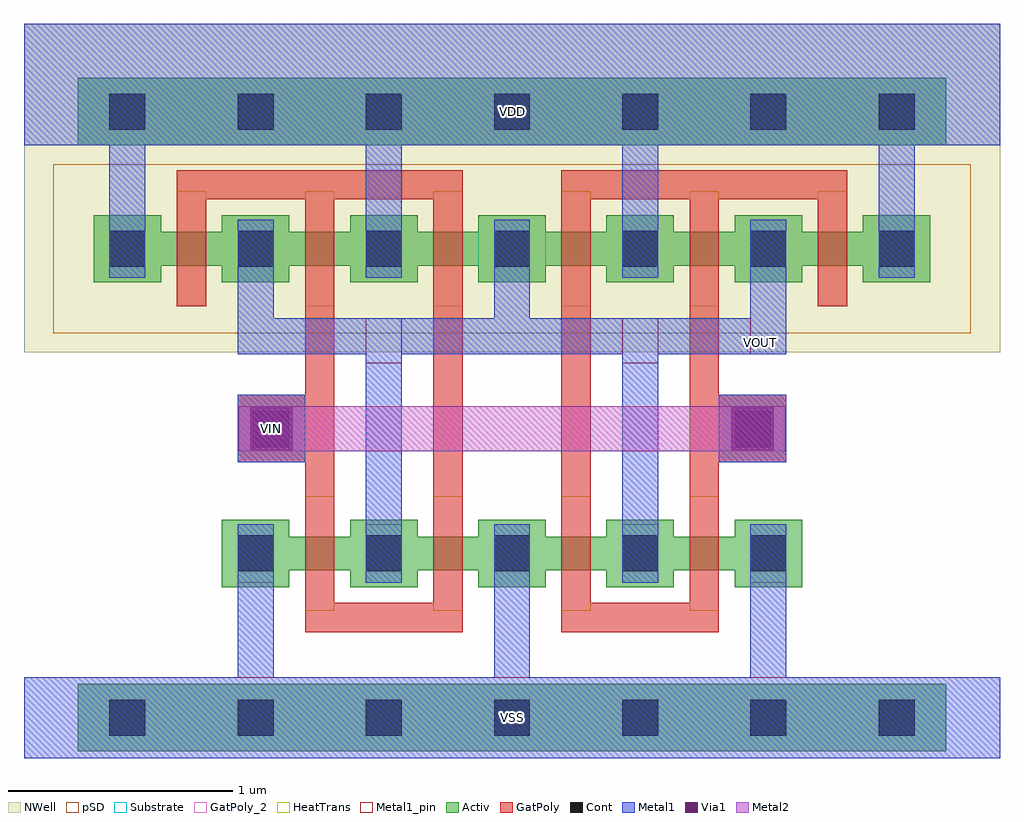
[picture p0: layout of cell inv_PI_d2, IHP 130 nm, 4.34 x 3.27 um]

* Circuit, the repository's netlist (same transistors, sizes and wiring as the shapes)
* Extracted by KLayout with SG13G2 LVS runset on : 27/02/2026 19:48

.SUBCKT inv_PI_d2 VSS VOUT VDD VIN
M$1 VSS VIN VOUT VSS sg13_lv_nmos L=0.13u W=0.6u AS=0.267p AD=0.267p PS=3.56u
+ PD=3.56u
M$5 VDD VIN VOUT VDD sg13_lv_pmos L=0.13u W=0.9u AS=0.378p AD=0.378p PS=5.04u
+ PD=5.04u
.ENDS inv_PI_d2

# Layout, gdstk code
from math import pi, radians
import gdstk
lib = gdstk.Library(unit=1e-6, precision=5e-09)
def R(c, l, rs):  # rectangles x0, y0, x1, y1
    for r in rs: c.add(gdstk.rectangle(r[:2], r[2:], *l))
def A(c, l, x, y, w, h, nx, ny, dx, dy):  # array of equal rectangles
    R(c, l, [(x+i*dx, y+j*dy, x+i*dx+w, y+j*dy+h) for i in range(nx) for j in range(ny)])
Activ = (1, 0)
GatPoly = (5, 0)
GatPoly_2 = (5, 2)
Cont = (6, 0)
Metal1 = (8, 0)
Metal1_pin = (8, 2)
Metal2 = (10, 0)
pSD = (14, 0)
Via1 = (19, 0)
NWell = (31, 0)
Substrate = (40, 0)
HeatTrans = (51, 0)

pmos_1 = lib.new_cell('pmos$1')
A(pmos_1, Activ, 0, 0, 0.3, 0.3, 4, 1, 0.57, 0)
R(pmos_1, Activ, [(0,0.075,2.01,0.225)])
A(pmos_1, GatPoly, 0.37, -0.105, 0.13, 0.51, 3, 1, 0.57, 0)
R(pmos_1, GatPoly, [(0.37,-0.105,0.5,0.405)])
A(pmos_1, Cont, 0.07, 0.07, 0.16, 0.16, 4, 1, 0.57, 0)
A(pmos_1, Metal1, 0.64, 0.02, 0.16, 0.26, 3, 1, 0.57, 0)
R(pmos_1, Metal1, [(0.07,0.02,0.23,0.28), (0.07,0.02,0.23,0.28), (0.64,0.02,0.8,0.28)])
R(pmos_1, pSD, [(-0.18,-0.225,2.19,0.525)])
R(pmos_1, NWell, [(-0.31,-0.31,2.32,0.61)])
R(pmos_1, Substrate, [(1.71,0,2.01,0.3)])
A(pmos_1, HeatTrans, 0.37, -0.105, 0.13, 0.51, 3, 1, 0.57, 0)
pmos_1.add(gdstk.Label('pmos', (0.435,0.15), layer=63, texttype=0))
pmos_1.add(gdstk.Label('pmos', (0.435,0.15), layer=51, texttype=0))
pmos_1.add(gdstk.Label('pmos', (1.005,0.15), layer=51, texttype=0))
pmos_1.add(gdstk.Label('pmos', (1.575,0.15), layer=51, texttype=0))

nmos = lib.new_cell('nmos')
A(nmos, Activ, 0, 0, 0.3, 0.3, 3, 1, 0.57, 0)
R(nmos, Activ, [(0,0.075,1.44,0.225)])
R(nmos, GatPoly, [(0.37,-0.105,0.5,0.405), (0.94,-0.105,1.07,0.405)])
R(nmos, GatPoly_2, [(0.37,-0.105,0.5,0.405)])
A(nmos, Cont, 0.07, 0.07, 0.16, 0.16, 3, 1, 0.57, 0)
A(nmos, Metal1, 0.07, 0.02, 0.16, 0.26, 3, 1, 0.57, 0)
R(nmos, Metal1_pin, [(0.07,0.02,0.23,0.28), (0.64,0.02,0.8,0.28)])
R(nmos, HeatTrans, [(0.37,-0.105,0.5,0.405), (0.94,-0.105,1.07,0.405)])
nmos.add(gdstk.Label('nmos', (0.435,0.15), layer=63, texttype=0))
nmos.add(gdstk.Label('nmos', (0.435,0.15), layer=51, texttype=0))
nmos.add(gdstk.Label('nmos', (1.005,0.15), layer=51, texttype=0))

inv_pi = lib.new_cell('inv_PI')
R(inv_pi, Activ, [(2,1.95,4.15,2.25), (2,4.645,4.15,4.945)])
R(inv_pi, GatPoly, [(3.01,2.48,3.71,2.61), (3.01,2.655,3.14,4.535), (3.58,2.655,3.71,4.535), (2.71,3.235,3.01,3.535), (2.44,3.93,2.57,4.535), (2.44,4.405,3.71,4.535)])
A(inv_pi, Cont, 2.14, 2.02, 0.16, 0.16, 4, 2, 0.57, 2.695)
R(inv_pi, Cont, [(2.78,3.305,2.94,3.465)])
R(inv_pi, Metal1, [(1.76,1.92,4.39,2.28), (2.71,1.95,2.87,2.96), (3.85,1.95,4.01,2.96), (3.28,2.7,3.44,3.875), (2.71,3.235,3.01,3.535), (2.71,3.715,2.87,4.315), (2.71,3.715,4.01,3.875), (3.85,3.715,4.01,4.315), (2.14,4.105,2.3,4.945), (3.28,4.105,3.44,4.945), (1.76,4.645,4.39,5.185)])
R(inv_pi, Metal1_pin, [(1.76,1.92,4.39,2.28), (2.71,3.235,3.01,3.535), (3.28,3.675,3.44,3.875), (1.76,4.645,4.39,5.185)])
R(inv_pi, pSD, [(1.76,1.92,4.39,2.28)])
R(inv_pi, NWell, [(1.76,4.645,4.39,5.185)])
inv_pi.add(gdstk.Reference(pmos_1, (2.07,4.035)))
inv_pi.add(gdstk.Reference(nmos, (2.64,2.68)))
inv_pi.add(gdstk.Label('VSS', (3.025,2.065), layer=8, texttype=25))
inv_pi.add(gdstk.Label('VIN', (2.8,3.32), layer=8, texttype=25))
inv_pi.add(gdstk.Label('VDD', (3.075,4.795), layer=8, texttype=25))
inv_pi.add(gdstk.Label('VOUT', (3.28,3.75), layer=8, texttype=25))

via_stack_1 = lib.new_cell('via_stack$1')
R(via_stack_1, Metal1, [(-0.145,-0.105,0.145,0.105)])
R(via_stack_1, Metal2, [(-0.145,-0.1,0.145,0.1)])
R(via_stack_1, Via1, [(-0.095,-0.095,0.095,0.095)])

inv_pi_d2 = lib.new_cell('inv_PI_d2')
R(inv_pi_d2, Metal1, [(4.01,3.715,4.42,3.875)])
R(inv_pi_d2, Metal1_pin, [(4.99,3.715,5.15,3.875), (4.99,3.715,5.15,4.315), (1.76,4.645,6.1,5.185)])
R(inv_pi_d2, Metal2, [(2.715,3.285,5.145,3.485)])
inv_pi_d2.add(gdstk.Reference(inv_pi, (0,0)))
inv_pi_d2.add(gdstk.Reference(inv_pi, (7.86,0), rotation=pi, x_reflection=True))
inv_pi_d2.add(gdstk.Reference(via_stack_1, (2.86,3.385)))
inv_pi_d2.add(gdstk.Reference(via_stack_1, (5,3.385)))
inv_pi_d2.add(gdstk.Label('VDD', (3.93,4.795), layer=8, texttype=25))
inv_pi_d2.add(gdstk.Label('VOUT', (5.035,3.77), layer=8, texttype=25))
inv_pi_d2.add(gdstk.Label('VSS', (3.93,2.1), layer=8, texttype=25))
inv_pi_d2.add(gdstk.Label('VIN', (2.86,3.385), layer=8, texttype=25))

lib.write_gds('inv_PI_d2.gds')
